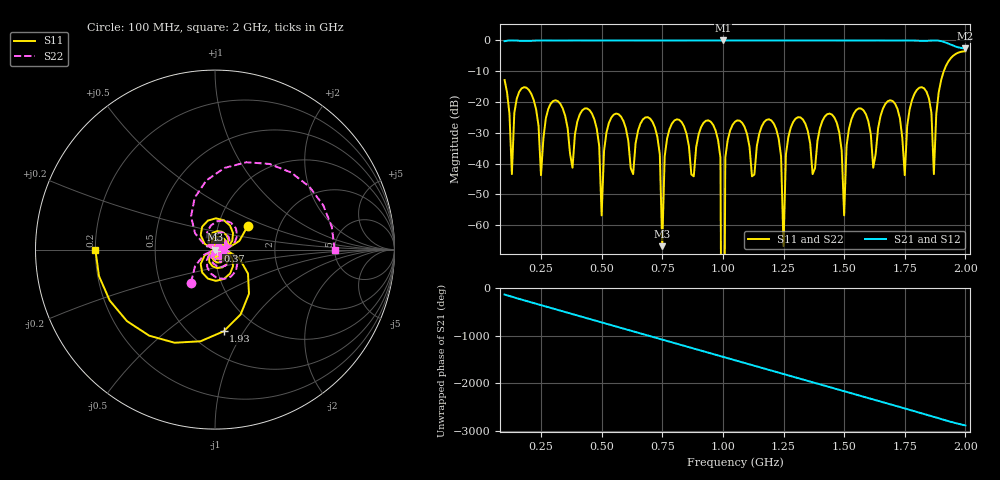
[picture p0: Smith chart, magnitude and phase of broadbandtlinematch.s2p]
! https://github.com/szoftveres
# Hz S RI R 50
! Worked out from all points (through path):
!   191 points, 100 MHz to 2 GHz, reference 50 ohm
!   highest |S21| = 0.00 dB at 1 GHz (marker M1); lowest = -2.6 dB at 2 GHz (marker M2)
!   group delay of S21, straight-line fit = 4.01 ns
!   lowest |S11| = -66.8 dB at 750 MHz (marker M3), VSWR 1.00, Z = 50 - j0.0421 ohm
!   |S11| at or under -10 dB: start of sweep to 1.911 GHz
!   |S22| runs from - to -3.5 dB; largest |S21 - S12| = 0
!   S11 on the Smith chart (normalised r, x): 100 MHz: 1.39, +0.39; 370 MHz: 1.03, -0.01; 1.93 GHz: 0.71, -0.82; 2 GHz: 0.20, +0.00
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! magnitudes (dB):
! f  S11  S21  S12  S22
! 100 MHz  -12.9  -0.2  -0.2  -12.9
! 130 MHz  -43.4  0.0  0.0  -43.4
! 370 MHz  -36.9  0.0  0.0  -36.9
! 420 MHz  -22.7  0.0  0.0  -22.7
! 500 MHz  -56.8  0.0  0.0  -56.8
! 550 MHz  -24.1  0.0  0.0  -24.1
! 740 MHz  -37.0  0.0  0.0  -37.0
! 750 MHz  -66.8  0.0  0.0  -66.8
! 780 MHz  -28.8  0.0  0.0  -28.8
! 950 MHz  -26.4  0.0  0.0  -26.4
! 990 MHz  -38.0  0.0  0.0  -38.0
! 1 GHz  -  0.0  0.0  -
! 1.01 GHz  -38.0  0.0  0.0  -38.0
! 1.05 GHz  -26.4  0.0  0.0  -26.4
! 1.22 GHz  -28.8  0.0  0.0  -28.8
! 1.25 GHz  -66.8  0.0  0.0  -66.8
! 1.28 GHz  -28.3  0.0  0.0  -28.3
! 1.37 GHz  -43.4  0.0  0.0  -43.4
! 1.69 GHz  -19.4  0.0  0.0  -19.4
! 1.87 GHz  -43.4  0.0  0.0  -43.4
! 1.93 GHz  -6.8  -1.0  -1.0  -6.8
! 2 GHz  -3.5  -2.6  -2.6  -3.5
